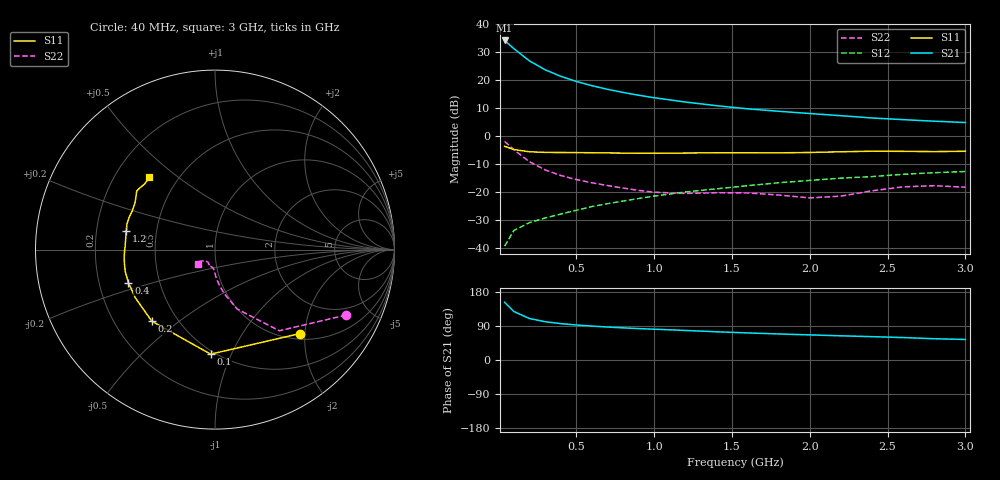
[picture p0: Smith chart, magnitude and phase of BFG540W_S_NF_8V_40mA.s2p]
! Filename:  BFG540WK.S2P  Version:  4.0
! Philips part #: BFG540  Date: Jun 1994
! Bias condition: Vce=8.0V, Ic=40.0mA
! IN LINE PINNING: same data as with cross emitter pinning.
#  MHz  S  MA  R  50
! Freq  S11  S21  S12  S22  !GUM [dB]
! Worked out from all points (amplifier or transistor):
!   21 points, 40 MHz to 3 GHz, reference 50 ohm
!   highest |S21| = 34.3 dB at 40 MHz (marker M1)
!   |S21| within 3 dB of that: start of sweep to 101.2 MHz
!   unconditionally stable (mu >= 1): 647.1 MHz to end of sweep
!   at 300 MHz: K = 0.78, MSG = 26.5 dB, |S12| = -29.1 dB
!   at 1 GHz: K = 1.08, MAG = 15.9 dB, |S12| = -21.3 dB
!   at 3 GHz: K = 1.08, MAG = 7.0 dB, |S12| = -12.5 dB
!   lowest NFmin = 1.90 dB at 900 MHz
!   S11 on the Smith chart (normalised r, x): 40 MHz: 1.12, -1.89; 100 MHz: 0.48, -0.84; 200 MHz: 0.36, -0.40; 400 MHz: 0.33, -0.17; 1.2 GHz: 0.33, +0.09; 3 GHz: 0.35, +0.40
40  0.666 -44.6  51.61 152.5  0.011 70.0  0.817 -26.5
100  0.583 -92.4  36.76 127.8  0.021 56.9  0.577 -51.6
200  0.532 -131.4  22.23 109.4  0.029 54.0  0.353 -69.6
300  0.519 -149.1  15.49 101.1  0.035 56.9  0.253 -77.9
400  0.516 -159.1  11.84 96.0  0.041 61.1  0.201 -82.9
500  0.515 -165.9  9.578 92.4  0.048 63.8  0.17 -86.1
600  0.511 -170.9  8.049 89.5  0.056 66.2  0.149 -88.3
700  0.508 -175.2  6.939 87.0  0.063 67.9  0.133 -90.0
800  0.504 -179.0  6.099 84.8  0.07 69.1  0.12 -91.7
900  0.501 177.5  5.438 82.9  0.078 69.9  0.109 -94.2
1000  0.501 173.9  4.91 81.3  0.086 70.8  0.101 -97.3
1200  0.505 168.1  4.114 78.0  0.102 71.6  0.096 -105.3
1400  0.511 163.7  3.537 74.5  0.116 71.8  0.099 -109.9
1600  0.511 159.6  3.111 71.5  0.132 72.3  0.098 -110.2
1800  0.509 154.8  2.811 68.7  0.149 71.4  0.09 -110.9
2000  0.517 149.4  2.564 66.3  0.164 71.0  0.08 -119.7
2200  0.532 145.7  2.345 63.8  0.18 70.3  0.086 -134.7
2400  0.545 143.2  2.134 61.6  0.192 70.3  0.107 -142.1
2600  0.542 140.7  1.993 59.2  0.211 69.5  0.126 -140.5
2800  0.536 137.1  1.87 56.1  0.225 67.8  0.132 -136.7
3000  0.544 132.2  1.77 54.2  0.237 67.4  0.124 -138.4
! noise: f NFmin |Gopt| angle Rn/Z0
900  1.9  0.263  155  0.14
2000  2.6  0.494  -162  0.13
